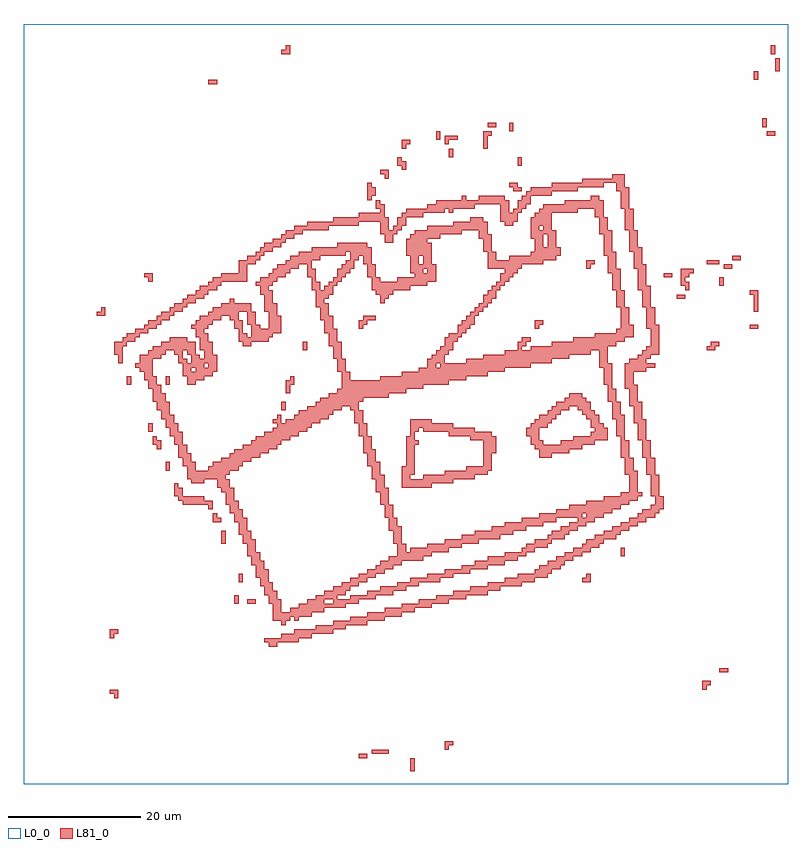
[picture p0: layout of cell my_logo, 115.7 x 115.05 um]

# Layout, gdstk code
import gdstk
lib = gdstk.Library(unit=1e-6, precision=1e-09)
def R(c, l, rs):  # rectangles x0, y0, x1, y1
    for r in rs: c.add(gdstk.rectangle(r[:2], r[2:], *l))
def P(c, l, *ps):  # polygons
    for p in ps: c.add(gdstk.Polygon(p, *l))
L0_0 = (0, 0)
L81_0 = (81, 0)

my_logo = lib.new_cell('my_logo')
R(my_logo, L0_0, [(0,0,115.7,115.05)])
R(my_logo, L81_0, [(58.5,1.95,59.15,3.9), (50.7,3.9,52,4.55), (52.65,4.55,55.25,5.2), (105.3,16.9,106.6,17.55), (31.85,27.3,32.5,28.6), (33.8,27.3,35.1,27.95), (32.5,30.55,33.15,31.85), (90.35,34.45,91,35.75), (29.9,36.4,30.55,38.35), (21.45,47.45,22.1,48.75), (18.85,53.3,19.5,54.6), (39,56.55,39.65,57.85), (15.6,60.45,16.25,61.75), (21.45,60.45,22.1,61.75), (42.25,65.65,42.9,66.95), (109.85,68.9,111.15,69.55), (98.8,73.45,100.1,74.1), (105.3,75.4,105.95,76.7), (96.85,76.7,98.15,77.35), (105.95,78,107.25,78.65), (103.35,78.65,105.3,79.3), (107.25,79.3,108.55,79.95), (76.7,82.55,77.35,85.8), (74.75,93.6,75.4,94.9), (64.35,94.9,65,96.2), (62.4,97.5,63.05,98.8), (112.45,98.15,113.75,98.8), (73.45,98.8,74.1,100.1), (70.2,99.45,71.5,100.1), (111.8,99.45,112.45,100.75), (27.95,105.95,29.25,106.6), (110.5,106.6,111.15,107.9), (113.75,107.9,114.4,109.85), (113.1,110.5,113.75,111.8)])
P(my_logo, L81_0, [(39,110.5),(40.3,110.5),(40.3,111.8),(39.65,111.8),(39.65,111.15),(39,111.15)],
  [(69.55,96.2),(70.2,96.2),(70.2,98.15),(70.85,98.15),(70.85,98.8),(69.55,98.8)],
  [(63.7,96.85),(64.35,96.85),(64.35,97.5),(65.65,97.5),(65.65,98.15),(63.7,98.15)],
  [(57.2,96.2),(57.85,96.2),(57.85,96.85),(58.5,96.85),(58.5,97.5),(57.2,97.5)],
  [(57.2,93.6),(57.2,92.95),(57.85,92.95),(57.85,94.25),(57.2,94.25),(57.2,94.9),(56.55,94.9),(56.55,93.6)],
  [(53.95,92.95),(53.95,92.3),(54.6,92.3),(54.6,91.65),(55.25,91.65),(55.25,92.95)],
  [(15.6,66.3),(15.6,66.95),(16.9,66.95),(16.9,67.6),(17.55,67.6),(17.55,68.25),(18.85,68.25),(18.85,68.9),(20.15,68.9),(20.15,69.55),(20.8,69.55),(20.8,70.2),(22.1,70.2),(22.1,70.85),(22.75,70.85),(22.75,71.5),(24.05,71.5),(24.05,72.15),(24.7,72.15),(24.7,72.8),(26,72.8),(26,73.45),(27.3,73.45),(27.3,74.1),(27.95,74.1),(27.95,74.75),(29.25,74.75),(29.25,75.4),(29.9,75.4),(29.9,76.05),(33.8,76.05),(33.8,78.65),(35.1,78.65),(35.1,79.3),(35.75,79.3),(35.75,79.95),(36.4,79.95),(36.4,80.6),(37.7,80.6),(37.7,81.25),(39,81.25),(39,81.9),(39.65,81.9),(39.65,82.55),(40.95,82.55),(40.95,83.2),(42.25,83.2),(42.25,83.85),(46.15,83.85),(46.15,84.5),(50.7,84.5),(50.7,85.15),(52,85.15),(52,86.45),(50.7,86.45),(50.7,85.8),(46.8,85.8),(46.8,85.15),(42.9,85.15),(42.9,84.5),(40.95,84.5),(40.95,83.85),(39.65,83.85),(39.65,83.2),(39,83.2),(39,82.55),(37.7,82.55),(37.7,81.9),(36.4,81.9),(36.4,81.25),(35.75,81.25),(35.75,80.6),(35.1,80.6),(35.1,79.95),(33.8,79.95),(33.8,79.3),(32.5,79.3),(32.5,77.35),(29.9,77.35),(29.9,76.7),(28.6,76.7),(28.6,76.05),(27.95,76.05),(27.95,75.4),(26.65,75.4),(26.65,74.75),(26,74.75),(26,74.1),(24.7,74.1),(24.7,73.45),(24.05,73.45),(24.05,72.8),(22.75,72.8),(22.75,72.15),(22.1,72.15),(22.1,71.5),(20.8,71.5),(20.8,70.85),(20.15,70.85),(20.15,70.2),(18.85,70.2),(18.85,69.55),(18.2,69.55),(18.2,68.9),(16.9,68.9),(16.9,68.25),(15.6,68.25),(15.6,67.6),(14.95,67.6),(14.95,66.95),(13.65,66.95),(13.65,65),(14.3,65),(14.3,63.7),(14.95,63.7),(14.95,66.3)],
  [(49.4,25.35),(49.4,24.7),(46.8,24.7),(46.8,24.05),(44.2,24.05),(44.2,23.4),(40.95,23.4),(40.95,22.75),(39,22.75),(39,22.1),(36.4,22.1),(36.4,21.45),(37.05,21.45),(37.05,20.8),(38.35,20.8),(38.35,21.45),(41.6,21.45),(41.6,22.1),(43.55,22.1),(43.55,22.75),(46.8,22.75),(46.8,23.4),(48.75,23.4),(48.75,24.05),(52,24.05),(52,25.35)],
  [(56.55,83.2),(56.55,83.85),(57.2,83.85),(57.2,84.5),(57.85,84.5),(57.85,85.8),(60.45,85.8),(60.45,86.45),(63.7,86.45),(63.7,87.1),(64.35,87.1),(64.35,86.45),(65,86.45),(65,87.1),(68.25,87.1),(68.25,87.75),(72.15,87.75),(72.15,85.15),(72.8,85.15),(72.8,84.5),(74.1,84.5),(74.1,85.15),(74.75,85.15),(74.75,86.45),(75.4,86.45),(75.4,87.1),(76.05,87.1),(76.05,87.75),(76.7,87.75),(76.7,89.05),(79.95,89.05),(79.95,89.7),(81.9,89.7),(81.9,91),(79.95,91),(79.95,90.35),(76.7,90.35),(76.7,89.7),(76.05,89.7),(76.05,89.05),(75.4,89.05),(75.4,88.4),(74.75,88.4),(74.75,87.1),(74.1,87.1),(74.1,86.45),(73.45,86.45),(73.45,88.4),(72.8,88.4),(72.8,89.05),(68.9,89.05),(68.9,88.4),(66.95,88.4),(66.95,89.05),(66.3,89.05),(66.3,88.4),(62.4,88.4),(62.4,87.75),(61.1,87.75),(61.1,87.1),(57.85,87.1),(57.85,86.45),(57.2,86.45),(57.2,85.8),(56.55,85.8),(56.55,84.5),(55.9,84.5),(55.9,83.85),(55.25,83.85),(55.25,85.8),(54.6,85.8),(54.6,87.75),(53.95,87.75),(53.95,88.4),(53.3,88.4),(53.3,87.1),(53.95,87.1),(53.95,86.45),(52,86.45),(52,85.15),(53.95,85.15),(53.95,83.2),(54.6,83.2),(54.6,81.9),(55.9,81.9),(55.9,83.2)],
  [(80.6,34.45),(80.6,33.8),(79.3,33.8),(79.3,33.15),(78,33.15),(78,32.5),(77.35,32.5),(77.35,31.85),(74.75,31.85),(74.75,31.2),(72.8,31.2),(72.8,30.55),(70.2,30.55),(70.2,29.9),(67.6,29.9),(67.6,29.25),(65,29.25),(65,28.6),(62.4,28.6),(62.4,27.95),(59.8,27.95),(59.8,27.3),(57.2,27.3),(57.2,26.65),(54.6,26.65),(54.6,26),(52,26),(52,24.7),(54.6,24.7),(54.6,25.35),(57.2,25.35),(57.2,26),(59.15,26),(59.15,26.65),(61.75,26.65),(61.75,27.3),(64.35,27.3),(64.35,27.95),(66.95,27.95),(66.95,28.6),(70.2,28.6),(70.2,29.25),(72.15,29.25),(72.15,29.9),(75.4,29.9),(75.4,30.55),(77.35,30.55),(77.35,31.2),(79.3,31.2),(79.3,31.85),(79.95,31.85),(79.95,32.5),(81.25,32.5),(81.25,33.15),(81.9,33.15),(81.9,34.45)],
  [(83.85,90.35),(87.75,90.35),(87.75,91),(89.7,91),(89.7,89.7),(90.35,89.7),(90.35,87.1),(91,87.1),(91,83.85),(91.65,83.85),(91.65,80.6),(92.3,80.6),(92.3,78),(92.95,78),(92.95,74.75),(93.6,74.75),(93.6,72.15),(94.25,72.15),(94.25,68.9),(94.9,68.9),(94.9,66.3),(94.25,66.3),(94.25,65.65),(93.6,65.65),(93.6,65),(92.95,65),(92.95,64.35),(91.65,64.35),(91.65,63.7),(91,63.7),(91,59.8),(91.65,59.8),(91.65,57.2),(92.3,57.2),(92.3,54.6),(92.95,54.6),(92.95,52),(93.6,52),(93.6,49.4),(94.25,49.4),(94.25,46.8),(94.9,46.8),(94.9,43.55),(95.55,43.55),(95.55,42.25),(94.9,42.25),(94.9,41.6),(93.6,41.6),(93.6,40.95),(92.95,40.95),(92.95,40.3),(91.65,40.3),(91.65,39.65),(90.35,39.65),(90.35,39),(89.05,39),(89.05,38.35),(87.75,38.35),(87.75,37.7),(86.45,37.7),(86.45,37.05),(85.15,37.05),(85.15,36.4),(84.5,36.4),(84.5,35.75),(83.2,35.75),(83.2,35.1),(81.9,35.1),(81.9,33.8),(83.2,33.8),(83.2,34.45),(84.5,34.45),(84.5,35.1),(85.8,35.1),(85.8,35.75),(87.1,35.75),(87.1,36.4),(87.75,36.4),(87.75,37.05),(89.7,37.05),(89.7,37.7),(90.35,37.7),(90.35,38.35),(91.65,38.35),(91.65,39),(92.95,39),(92.95,39.65),(94.25,39.65),(94.25,40.3),(95.55,40.3),(95.55,40.95),(96.2,40.95),(96.2,41.6),(96.85,41.6),(96.85,43.55),(96.2,43.55),(96.2,46.8),(95.55,46.8),(95.55,49.4),(94.9,49.4),(94.9,52),(94.25,52),(94.25,55.25),(93.6,55.25),(93.6,57.85),(92.95,57.85),(92.95,60.45),(92.3,60.45),(92.3,62.4),(94.25,62.4),(94.25,63.05),(95.55,63.05),(95.55,63.7),(94.25,63.7),(94.25,64.35),(94.9,64.35),(94.9,65),(96.2,65),(96.2,69.55),(95.55,69.55),(95.55,72.15),(94.9,72.15),(94.9,75.4),(94.25,75.4),(94.25,78.65),(93.6,78.65),(93.6,81.25),(92.95,81.25),(92.95,83.85),(92.3,83.85),(92.3,87.1),(91.65,87.1),(91.65,90.35),(91,90.35),(91,92.3),(89.05,92.3),(89.05,91.65),(84.5,91.65),(84.5,91),(81.9,91),(81.9,89.7),(83.85,89.7)],
  [(75.4,90.35),(74.75,90.35),(74.75,91),(73.45,91),(73.45,90.35),(74.1,90.35),(74.1,89.7),(75.4,89.7)],
  [(52.65,88.4),(52.65,89.05),(53.3,89.05),(53.3,90.35),(52.65,90.35),(52.65,91),(52,91),(52,88.4)],
  [(99.45,75.4),(100.1,75.4),(100.1,74.75),(100.75,74.75),(100.75,76.05),(100.1,76.05),(100.1,76.7),(100.75,76.7),(100.75,77.35),(101.4,77.35),(101.4,78),(99.45,78)],
  [(18.2,77.35),(18.2,76.7),(18.85,76.7),(18.85,76.05),(19.5,76.05),(19.5,77.35)],
  [(111.15,71.5),(111.15,74.75),(109.85,74.75),(109.85,74.1),(110.5,74.1),(110.5,71.5)],
  [(11.05,70.85),(12.35,70.85),(12.35,72.15),(11.7,72.15),(11.7,71.5),(11.05,71.5)],
  [(104,66.3),(103.35,66.3),(103.35,65.65),(104.65,65.65),(104.65,66.3),(105.3,66.3),(105.3,66.95),(104,66.95)],
  [(20.15,51.35),(20.15,50.7),(20.8,50.7),(20.8,52),(20.15,52),(20.15,52.65),(19.5,52.65),(19.5,51.35)],
  [(23.4,43.55),(23.4,42.9),(24.05,42.9),(24.05,42.25),(27.95,42.25),(27.95,41.6),(28.6,41.6),(28.6,42.9),(27.3,42.9),(27.3,43.55),(24.05,43.55),(24.05,44.85),(23.4,44.85),(23.4,45.5),(22.75,45.5),(22.75,43.55)],
  [(29.9,39.65),(29.9,40.3),(29.25,40.3),(29.25,40.95),(28.6,40.95),(28.6,39.65)],
  [(84.5,30.55),(85.8,30.55),(85.8,31.85),(85.15,31.85),(85.15,31.2),(84.5,31.2)],
  [(13,22.1),(13.65,22.1),(13.65,22.75),(14.3,22.75),(14.3,23.4),(13,23.4)],
  [(102.7,14.3),(103.35,14.3),(103.35,14.95),(104,14.95),(104,15.6),(102.7,15.6)],
  [(13,14.3),(13,13.65),(13.65,13.65),(13.65,13),(14.3,13),(14.3,14.3)],
  [(63.7,5.2),(64.35,5.2),(64.35,5.85),(65,5.85),(65,6.5),(63.7,6.5)],
  [(24.7,61.75),(24.7,60.45),(26,60.45),(26,61.1),(27.3,61.1),(27.3,61.75),(28.6,61.75),(28.6,62.4),(29.25,62.4),(29.25,65),(28.6,65),(28.6,66.95),(27.95,66.95),(27.95,68.25),(27.3,68.25),(27.3,68.9),(27.95,68.9),(27.95,69.55),(28.6,69.55),(28.6,70.2),(29.9,70.2),(29.9,70.85),(31.2,70.85),(31.2,72.8),(29.9,72.8),(29.9,72.15),(28.6,72.15),(28.6,71.5),(27.95,71.5),(27.95,70.85),(26.65,70.85),(26.65,70.2),(26,70.2),(26,69.55),(25.35,69.55),(25.35,68.9),(26,68.9),(26,67.6),(26.65,67.6),(26.65,65.65),(27.3,65.65),(27.3,64.35),(26.65,64.35),(26.65,65),(26,65),(26,66.95),(24.7,66.95),(24.7,67.6),(22.1,67.6),(22.1,66.95),(20.8,66.95),(20.8,66.3),(19.5,66.3),(19.5,65.65),(18.85,65.65),(18.85,65),(17.55,65),(17.55,63.7),(16.9,63.7),(16.9,63.05),(17.55,63.05),(17.55,62.4),(18.2,62.4),(18.2,61.1),(18.85,61.1),(18.85,59.8),(19.5,59.8),(19.5,57.85),(20.15,57.85),(20.15,56.55),(20.8,56.55),(20.8,55.25),(21.45,55.25),(21.45,53.95),(22.1,53.95),(22.1,52.65),(22.75,52.65),(22.75,51.35),(23.4,51.35),(23.4,49.4),(24.05,49.4),(24.05,48.1),(24.7,48.1),(24.7,46.15),(25.35,46.15),(25.35,45.5),(27.3,45.5),(27.3,46.15),(29.25,46.15),(29.25,44.85),(29.9,44.85),(29.9,44.2),(30.55,44.2),(30.55,42.25),(31.2,42.25),(31.2,46.15),(30.55,46.15),(30.55,46.8),(31.2,46.8),(31.2,49.4),(29.9,49.4),(29.9,48.75),(28.6,48.75),(28.6,48.1),(27.95,48.1),(27.95,47.45),(26,47.45),(26,48.75),(25.35,48.75),(25.35,50.05),(24.7,50.05),(24.7,51.35),(24.05,51.35),(24.05,53.3),(23.4,53.3),(23.4,54.6),(22.75,54.6),(22.75,55.9),(22.1,55.9),(22.1,57.85),(21.45,57.85),(21.45,59.15),(20.8,59.15),(20.8,60.45),(20.15,60.45),(20.15,61.75),(19.5,61.75),(19.5,64.35),(20.8,64.35),(20.8,65),(21.45,65),(21.45,65.65),(22.75,65.65),(22.75,65),(23.4,65),(23.4,64.35),(24.05,64.35),(24.05,65.65),(24.7,65.65),(24.7,65),(25.35,65),(25.35,63.7),(24.7,63.7),(24.7,64.35),(24.05,64.35),(23.4,64.35),(23.4,63.7),(24.05,63.7),(24.05,62.4),(25.35,62.4),(25.35,63.05),(27.3,63.05),(27.3,63.7),(27.95,63.7),(27.95,63.05),(27.3,63.05),(25.35,63.05),(26,63.05),(26,62.4),(25.35,62.4),(24.05,62.4),(24.05,61.75)],
  [(40.95,55.9),(40.95,55.25),(39.65,55.25),(39.65,54.6),(39,54.6),(39,55.9),(38.35,55.9),(38.35,55.25),(37.7,55.25),(37.7,54.6),(38.35,54.6),(38.35,53.95),(37.7,53.95),(37.7,53.3),(36.4,53.3),(36.4,52.65),(35.1,52.65),(35.1,52),(34.45,52),(34.45,51.35),(33.15,51.35),(33.15,50.7),(31.85,50.7),(31.85,50.05),(31.2,50.05),(31.2,47.45),(32.5,47.45),(32.5,48.1),(33.15,48.1),(33.15,48.75),(34.45,48.75),(34.45,49.4),(35.75,49.4),(35.75,50.05),(37.05,50.05),(37.05,50.7),(38.35,50.7),(38.35,51.35),(39,51.35),(39,52),(40.3,52),(40.3,52.65),(41.6,52.65),(41.6,55.9)],
  [(40.3,26.65),(40.3,26),(39,26),(39,27.95),(38.35,27.95),(38.35,29.25),(37.7,29.25),(37.7,30.55),(37.05,30.55),(37.05,32.5),(36.4,32.5),(36.4,33.8),(35.75,33.8),(35.75,35.1),(35.1,35.1),(35.1,37.05),(34.45,37.05),(34.45,38.35),(33.8,38.35),(33.8,40.3),(33.15,40.3),(33.15,41.6),(32.5,41.6),(32.5,42.9),(31.85,42.9),(31.85,44.85),(31.2,44.85),(31.2,40.95),(31.85,40.95),(31.85,39.65),(32.5,39.65),(32.5,37.7),(33.15,37.7),(33.15,36.4),(33.8,36.4),(33.8,34.45),(34.45,34.45),(34.45,33.15),(35.1,33.15),(35.1,31.2),(35.75,31.2),(35.75,29.9),(36.4,29.9),(36.4,28.6),(37.05,28.6),(37.05,27.3),(37.7,27.3),(37.7,24.7),(39,24.7),(39,24.05),(39.65,24.05),(39.65,24.7),(40.3,24.7),(40.3,25.35),(40.95,25.35),(40.95,24.7),(41.6,24.7),(41.6,26.65)],
  [(40.3,79.95),(40.3,79.3),(39.65,79.3),(39.65,78.65),(38.35,78.65),(38.35,78),(37.7,78),(37.7,77.35),(37.05,77.35),(37.05,76.7),(35.75,76.7),(35.75,76.05),(35.1,76.05),(35.1,75.4),(35.75,75.4),(35.75,74.1),(36.4,74.1),(36.4,71.5),(37.05,71.5),(37.05,68.9),(35.75,68.9),(35.75,69.55),(35.1,69.55),(35.1,71.5),(34.45,71.5),(34.45,72.8),(31.85,72.8),(31.85,73.45),(31.2,73.45),(31.2,70.2),(32.5,70.2),(32.5,71.5),(33.8,71.5),(33.8,69.55),(34.45,69.55),(34.45,67.6),(33.8,67.6),(33.8,68.25),(33.15,68.25),(33.15,70.2),(32.5,70.2),(31.2,70.2),(31.85,70.2),(31.85,68.9),(32.5,68.9),(32.5,66.95),(33.15,66.95),(33.15,66.3),(34.45,66.3),(34.45,66.95),(37.05,66.95),(37.05,67.6),(37.7,67.6),(37.7,68.25),(39,68.25),(39,70.85),(38.35,70.85),(38.35,72.8),(37.7,72.8),(37.7,74.75),(37.05,74.75),(37.05,75.4),(37.7,75.4),(37.7,76.05),(38.35,76.05),(38.35,76.7),(39.65,76.7),(39.65,77.35),(40.3,77.35),(40.3,78),(41.6,78),(41.6,79.95)],
  [(49.4,28.6),(49.4,27.95),(47.45,27.95),(47.45,28.6),(48.75,28.6),(48.75,29.25),(49.4,29.25),(49.4,29.9),(50.7,29.9),(50.7,30.55),(52,30.55),(52,31.85),(50.7,31.85),(50.7,31.2),(49.4,31.2),(49.4,30.55),(48.1,30.55),(48.1,29.9),(46.8,29.9),(46.8,29.25),(45.5,29.25),(45.5,28.6),(44.2,28.6),(44.2,27.95),(42.9,27.95),(42.9,27.3),(45.5,27.3),(45.5,27.95),(46.8,27.95),(46.8,27.3),(45.5,27.3),(42.9,27.3),(41.6,27.3),(41.6,25.35),(43.55,25.35),(43.55,26),(45.5,26),(45.5,26.65),(48.75,26.65),(48.75,27.3),(50.7,27.3),(50.7,27.95),(52,27.95),(52,28.6)],
  [(44.85,72.15),(44.85,70.2),(45.5,70.2),(45.5,68.25),(46.15,68.25),(46.15,66.3),(46.8,66.3),(46.8,64.35),(47.45,64.35),(47.45,62.4),(48.1,62.4),(48.1,59.8),(47.45,59.8),(47.45,59.15),(46.15,59.15),(46.15,58.5),(44.85,58.5),(44.85,57.85),(44.2,57.85),(44.2,57.2),(42.9,57.2),(42.9,56.55),(41.6,56.55),(41.6,53.3),(42.9,53.3),(42.9,53.95),(43.55,53.95),(43.55,54.6),(44.85,54.6),(44.85,55.25),(46.15,55.25),(46.15,55.9),(46.8,55.9),(46.8,56.55),(48.1,56.55),(48.1,57.2),(49.4,57.2),(49.4,56.55),(50.05,56.55),(50.05,54.6),(50.7,54.6),(50.7,52.65),(51.35,52.65),(51.35,50.05),(52,50.05),(52,54.6),(51.35,54.6),(51.35,56.55),(50.7,56.55),(50.7,57.85),(51.35,57.85),(51.35,58.5),(52,58.5),(52,61.1),(49.4,61.1),(49.4,62.4),(48.75,62.4),(48.75,64.35),(48.1,64.35),(48.1,66.95),(47.45,66.95),(47.45,68.9),(46.8,68.9),(46.8,70.85),(46.15,70.85),(46.15,72.8),(45.5,72.8),(45.5,73.45),(46.15,73.45),(46.15,74.1),(46.8,74.1),(46.8,75.4),(47.45,75.4),(47.45,76.05),(48.1,76.05),(48.1,76.7),(48.75,76.7),(48.75,77.35),(49.4,77.35),(49.4,78),(50.05,78),(50.05,79.3),(50.7,79.3),(50.7,79.95),(51.35,79.95),(51.35,78.65),(52,78.65),(52,81.9),(47.45,81.9),(47.45,81.25),(43.55,81.25),(43.55,80.6),(41.6,80.6),(41.6,78.65),(42.9,78.65),(42.9,78),(43.55,78),(43.55,79.3),(44.85,79.3),(44.85,79.95),(48.75,79.95),(48.75,80.6),(49.4,80.6),(49.4,79.3),(48.75,79.3),(48.75,78.65),(48.1,78.65),(48.1,78),(47.45,78),(47.45,76.7),(46.8,76.7),(46.8,76.05),(46.15,76.05),(46.15,75.4),(45.5,75.4),(45.5,74.75),(44.85,74.75),(44.85,76.05),(44.2,76.05),(44.2,78),(43.55,78),(42.9,78),(42.9,76.7),(43.55,76.7),(43.55,74.75),(44.2,74.75),(44.2,72.15)],
  [(59.15,77.35),(59.15,76.7),(56.55,76.7),(56.55,76.05),(53.95,76.05),(53.95,76.7),(53.3,76.7),(53.3,78.65),(52.65,78.65),(52.65,81.25),(52,81.25),(52,76.7),(52.65,76.7),(52.65,74.75),(53.3,74.75),(53.3,74.1),(53.95,74.1),(53.95,72.8),(54.6,72.8),(54.6,73.45),(55.25,73.45),(55.25,74.1),(55.9,74.1),(55.9,74.75),(58.5,74.75),(58.5,75.4),(61.1,75.4),(61.1,76.05),(62.4,76.05),(62.4,78.65),(61.75,78.65),(61.75,81.9),(61.1,81.9),(61.1,82.55),(63.05,82.55),(63.05,83.2),(63.7,83.2),(63.7,84.5),(61.1,84.5),(61.1,83.85),(59.15,83.85),(59.15,83.2),(58.5,83.2),(58.5,82.55),(57.85,82.55),(57.85,79.95),(58.5,79.95),(58.5,78.65),(59.8,78.65),(59.8,79.95),(60.45,79.95),(60.45,78.65),(59.8,78.65),(58.5,78.65),(58.5,77.35),(60.45,77.35),(60.45,78),(61.1,78),(61.1,77.35),(60.45,77.35),(58.5,77.35)],
  [(63.05,66.3),(63.05,65.65),(62.4,65.65),(62.4,65),(61.75,65),(61.75,64.35),(61.1,64.35),(61.1,63.05),(62.4,63.05),(62.4,63.7),(63.05,63.7),(63.05,63.05),(62.4,63.05),(61.1,63.05),(59.8,63.05),(59.8,62.4),(57.2,62.4),(57.2,61.75),(53.95,61.75),(53.95,61.1),(52,61.1),(52,58.5),(55.25,58.5),(55.25,59.15),(57.85,59.15),(57.85,59.8),(60.45,59.8),(60.45,60.45),(63.7,60.45),(63.7,66.3)],
  [(61.1,36.4),(61.1,35.75),(58.5,35.75),(58.5,35.1),(57.85,35.1),(57.85,36.4),(57.2,36.4),(57.2,39),(56.55,39),(56.55,40.3),(55.9,40.3),(55.9,42.25),(55.25,42.25),(55.25,44.85),(54.6,44.85),(54.6,46.8),(53.95,46.8),(53.95,48.75),(53.3,48.75),(53.3,50.7),(52.65,50.7),(52.65,52.65),(52,52.65),(52,48.1),(52.65,48.1),(52.65,46.15),(53.3,46.15),(53.3,44.2),(53.95,44.2),(53.95,42.25),(54.6,42.25),(54.6,40.3),(55.25,40.3),(55.25,38.35),(55.9,38.35),(55.9,36.4),(56.55,36.4),(56.55,34.45),(55.25,34.45),(55.25,33.8),(53.95,33.8),(53.95,33.15),(53.3,33.15),(53.3,32.5),(52,32.5),(52,31.2),(53.3,31.2),(53.3,31.85),(54.6,31.85),(54.6,32.5),(55.9,32.5),(55.9,33.15),(57.2,33.15),(57.2,33.8),(60.45,33.8),(60.45,34.45),(61.75,34.45),(61.75,35.1),(63.7,35.1),(63.7,36.4)],
  [(61.1,31.85),(61.1,31.2),(58.5,31.2),(58.5,30.55),(56.55,30.55),(56.55,29.9),(53.95,29.9),(53.95,29.25),(52,29.25),(52,27.95),(53.3,27.95),(53.3,28.6),(55.9,28.6),(55.9,29.25),(57.85,29.25),(57.85,29.9),(59.8,29.9),(59.8,30.55),(63.05,30.55),(63.05,31.2),(63.7,31.2),(63.7,31.85)],
  [(66.3,83.85),(68.9,83.85),(68.9,82.55),(69.55,82.55),(69.55,80.6),(70.2,80.6),(70.2,78),(72.8,78),(72.8,77.35),(72.15,77.35),(72.15,76.05),(71.5,76.05),(71.5,75.4),(70.85,75.4),(70.85,74.75),(70.2,74.75),(70.2,74.1),(69.55,74.1),(69.55,72.8),(68.9,72.8),(68.9,72.15),(68.25,72.15),(68.25,71.5),(67.6,71.5),(67.6,70.85),(66.95,70.85),(66.95,70.2),(66.3,70.2),(66.3,69.55),(65.65,69.55),(65.65,68.25),(64.35,68.25),(64.35,67.6),(63.7,67.6),(63.7,65),(64.35,65),(64.35,65.65),(65,65.65),(65,66.95),(65.65,66.95),(65.65,67.6),(66.3,67.6),(66.3,68.25),(66.95,68.25),(66.95,68.9),(67.6,68.9),(67.6,69.55),(68.25,69.55),(68.25,70.85),(68.9,70.85),(68.9,71.5),(69.55,71.5),(69.55,72.15),(70.2,72.15),(70.2,72.8),(70.85,72.8),(70.85,73.45),(71.5,73.45),(71.5,74.75),(72.15,74.75),(72.15,75.4),(72.8,75.4),(72.8,76.05),(73.45,76.05),(73.45,76.7),(74.1,76.7),(74.1,77.35),(74.75,77.35),(74.75,78),(75.4,78),(75.4,78.65),(77.35,78.65),(77.35,80.6),(76.7,80.6),(76.7,79.95),(73.45,79.95),(73.45,79.3),(71.5,79.3),(71.5,80.6),(70.85,80.6),(70.85,83.2),(70.2,83.2),(70.2,85.15),(69.55,85.15),(69.55,85.8),(67.6,85.8),(67.6,85.15),(65,85.15),(65,84.5),(63.7,84.5),(63.7,83.2),(66.3,83.2)],
  [(64.35,60.45),(64.35,61.1),(66.95,61.1),(66.95,61.75),(70.2,61.75),(70.2,62.4),(72.8,62.4),(72.8,63.05),(76.7,63.05),(76.7,63.7),(77.35,63.7),(77.35,66.3),(76.7,66.3),(76.7,65.65),(75.4,65.65),(75.4,66.3),(76.05,66.3),(76.05,66.95),(76.7,66.95),(76.7,67.6),(75.4,67.6),(75.4,66.95),(74.75,66.95),(74.75,65.65),(72.8,65.65),(72.8,65),(69.55,65),(69.55,64.35),(66.95,64.35),(66.95,63.7),(63.7,63.7),(63.7,60.45)],
  [(64.35,35.75),(66.3,35.75),(66.3,36.4),(68.9,36.4),(68.9,37.05),(72.15,37.05),(72.15,37.7),(74.1,37.7),(74.1,38.35),(76.05,38.35),(76.05,39),(77.35,39),(77.35,40.3),(75.4,40.3),(75.4,39.65),(72.8,39.65),(72.8,39),(70.85,39),(70.85,38.35),(68.25,38.35),(68.25,37.7),(66.3,37.7),(66.3,37.05),(63.7,37.05),(63.7,35.1),(64.35,35.1)],
  [(76.05,36.4),(76.05,35.75),(75.4,35.75),(75.4,35.1),(72.8,35.1),(72.8,34.45),(70.2,34.45),(70.2,33.8),(68.25,33.8),(68.25,33.15),(66.3,33.15),(66.3,32.5),(63.7,32.5),(63.7,31.2),(65,31.2),(65,31.85),(67.6,31.85),(67.6,32.5),(70.2,32.5),(70.2,33.15),(72.8,33.15),(72.8,33.8),(74.75,33.8),(74.75,34.45),(76.05,34.45),(76.05,35.1),(77.35,35.1),(77.35,36.4)],
  [(78.65,78.65),(78.65,79.3),(80.6,79.3),(80.6,79.95),(81.25,79.95),(81.25,81.25),(80.6,81.25),(80.6,83.85),(79.95,83.85),(79.95,86.45),(83.85,86.45),(83.85,87.1),(86.45,87.1),(86.45,85.8),(87.1,85.8),(87.1,83.2),(87.75,83.2),(87.75,79.95),(88.4,79.95),(88.4,77.35),(89.05,77.35),(89.05,74.75),(89.7,74.75),(89.7,72.15),(90.35,72.15),(90.35,68.9),(89.7,68.9),(89.7,68.25),(86.45,68.25),(86.45,67.6),(83.2,67.6),(83.2,66.95),(79.95,66.95),(79.95,66.3),(77.35,66.3),(77.35,63.7),(79.95,63.7),(79.95,64.35),(82.55,64.35),(82.55,65),(85.8,65),(85.8,65.65),(87.1,65.65),(87.1,63.05),(87.75,63.05),(87.75,60.45),(88.4,60.45),(88.4,57.85),(89.05,57.85),(89.05,55.25),(89.7,55.25),(89.7,52.65),(90.35,52.65),(90.35,49.4),(91,49.4),(91,46.8),(91.65,46.8),(91.65,44.2),(90.35,44.2),(90.35,43.55),(87.75,43.55),(87.75,42.9),(85.15,42.9),(85.15,42.25),(82.55,42.25),(82.55,41.6),(80.6,41.6),(80.6,40.95),(78,40.95),(78,40.3),(77.35,40.3),(77.35,39),(78.65,39),(78.65,39.65),(80.6,39.65),(80.6,40.3),(84.5,40.3),(84.5,40.95),(85.15,40.95),(85.15,40.3),(84.5,40.3),(80.6,40.3),(83.85,40.3),(83.85,39.65),(82.55,39.65),(82.55,39),(81.25,39),(81.25,38.35),(79.95,38.35),(79.95,37.7),(79.3,37.7),(79.3,37.05),(77.35,37.05),(77.35,35.75),(79.3,35.75),(79.3,36.4),(79.95,36.4),(79.95,37.05),(81.9,37.05),(81.9,37.7),(82.55,37.7),(82.55,38.35),(83.85,38.35),(83.85,39),(85.15,39),(85.15,39.65),(86.45,39.65),(86.45,40.3),(87.75,40.3),(87.75,40.95),(89.05,40.95),(89.05,41.6),(90.35,41.6),(90.35,42.25),(91.65,42.25),(91.65,42.9),(92.95,42.9),(92.95,43.55),(93.6,43.55),(93.6,44.2),(92.95,44.2),(92.95,47.45),(92.3,47.45),(92.3,49.4),(91.65,49.4),(91.65,52),(91,52),(91,55.9),(90.35,55.9),(90.35,57.85),(89.7,57.85),(89.7,59.8),(89.05,59.8),(89.05,63.7),(88.4,63.7),(88.4,66.3),(89.7,66.3),(89.7,66.95),(91,66.95),(91,67.6),(92.3,67.6),(92.3,69.55),(91.65,69.55),(91.65,72.15),(91,72.15),(91,74.75),(90.35,74.75),(90.35,78),(89.7,78),(89.7,80.6),(89.05,80.6),(89.05,83.85),(88.4,83.85),(88.4,85.8),(87.75,85.8),(87.75,88.4),(87.1,88.4),(87.1,89.05),(85.8,89.05),(85.8,88.4),(81.9,88.4),(81.9,87.75),(78.65,87.75),(78.65,87.1),(78,87.1),(78,86.45),(77.35,86.45),(77.35,83.85),(78,83.85),(78,84.5),(78.65,84.5),(78.65,83.85),(78,83.85),(77.35,83.85),(77.35,81.25),(78.65,81.25),(78.65,83.2),(79.3,83.2),(79.3,81.25),(78.65,81.25),(77.35,81.25),(77.35,78.65)],
  [(85.15,78),(85.8,78),(85.8,78.65),(86.45,78.65),(86.45,79.3),(85.15,79.3)],
  [(77.35,68.9),(78,68.9),(78,69.55),(78.65,69.55),(78.65,70.2),(77.35,70.2)],
  [(51.35,70.2),(50.7,70.2),(50.7,68.9),(51.35,68.9),(51.35,69.55),(52,69.55),(52,70.2),(53.3,70.2),(53.3,70.85),(51.35,70.85)],
  [(88.4,53.95),(87.75,53.95),(87.75,54.6),(87.1,54.6),(87.1,55.9),(86.45,55.9),(86.45,56.55),(85.8,56.55),(85.8,57.85),(85.15,57.85),(85.15,58.5),(84.5,58.5),(84.5,59.15),(82.55,59.15),(82.55,58.5),(81.9,58.5),(81.9,57.85),(80.6,57.85),(80.6,57.2),(79.95,57.2),(79.95,56.55),(79.3,56.55),(79.3,55.9),(78,55.9),(78,55.25),(77.35,55.25),(77.35,54.6),(76.7,54.6),(76.7,53.95),(76.05,53.95),(76.05,52.65),(76.7,52.65),(76.7,52),(78,52),(78,53.95),(79.3,53.95),(79.3,54.6),(79.95,54.6),(79.95,55.25),(80.6,55.25),(80.6,55.9),(81.25,55.9),(81.25,56.55),(82.55,56.55),(82.55,57.2),(83.85,57.2),(83.85,56.55),(84.5,56.55),(84.5,55.9),(85.15,55.9),(85.15,55.25),(85.8,55.25),(85.8,53.95),(86.45,53.95),(86.45,53.3),(85.8,53.3),(85.8,52.65),(83.2,52.65),(83.2,52),(81.25,52),(81.25,51.35),(78.65,51.35),(78.65,52),(78,52),(76.7,52),(76.7,51.35),(77.35,51.35),(77.35,50.7),(78,50.7),(78,49.4),(79.95,49.4),(79.95,50.05),(82.55,50.05),(82.55,50.7),(84.5,50.7),(84.5,51.35),(86.45,51.35),(86.45,52),(88.4,52)],
  [(61.75,45.5),(65,45.5),(65,46.15),(68.25,46.15),(68.25,46.8),(70.2,46.8),(70.2,47.45),(70.85,47.45),(70.85,50.05),(71.5,50.05),(71.5,52.65),(70.85,52.65),(70.85,53.3),(68.25,53.3),(68.25,53.95),(65,53.95),(65,54.6),(61.75,54.6),(61.75,55.25),(58.5,55.25),(58.5,52.65),(57.85,52.65),(57.85,48.1),(57.2,48.1),(57.2,46.15),(58.5,46.15),(58.5,46.8),(59.15,46.8),(59.15,51.35),(59.8,51.35),(59.8,52),(59.15,52),(59.15,53.3),(59.8,53.3),(59.8,53.95),(60.45,53.95),(60.45,53.3),(64.35,53.3),(64.35,52.65),(67.6,52.65),(67.6,52),(69.55,52),(69.55,48.1),(66.95,48.1),(66.95,47.45),(63.7,47.45),(63.7,46.8),(60.45,46.8),(60.45,46.15),(58.5,46.15),(57.2,46.15),(57.2,44.85),(61.75,44.85)],
  [(39.65,59.15),(40.3,59.15),(40.3,60.45),(40.95,60.45),(40.95,61.75),(40.3,61.75),(40.3,61.1),(39.65,61.1)])

lib.write_gds('my_logo.gds')
